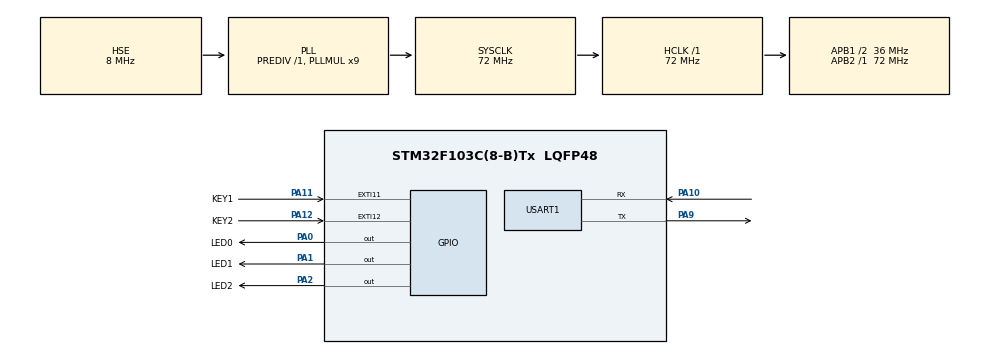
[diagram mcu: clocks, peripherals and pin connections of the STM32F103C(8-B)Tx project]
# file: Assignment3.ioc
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Mcu.Family=STM32F1
Mcu.Name=STM32F103C(8-B)Tx
Mcu.Package=LQFP48
NVIC.EXTI15_10_IRQn=true\:0\:0\:false\:false\:true\:true\:true\:true
NVIC.PriorityGroup=NVIC_PRIORITYGROUP_4
NVIC.USART1_IRQn=true\:0\:0\:false\:false\:true\:true\:true\:true
PA0-WKUP.GPIO_Label=LED0
PA0-WKUP.PinState=GPIO_PIN_SET
PA0-WKUP.Signal=GPIO_Output
PA1.GPIO_Label=LED1
PA1.PinState=GPIO_PIN_SET
PA1.Signal=GPIO_Output
PA10.Mode=Asynchronous
PA10.Signal=USART1_RX
PA11.GPIO_Label=KEY1
PA11.GPIO_ModeDefaultEXTI=GPIO_MODE_IT_FALLING
PA11.GPIO_PuPd=GPIO_PULLUP
PA11.Signal=GPXTI11
PA12.GPIO_Label=KEY2
PA12.GPIO_ModeDefaultEXTI=GPIO_MODE_IT_FALLING
PA12.GPIO_PuPd=GPIO_PULLUP
PA12.Signal=GPXTI12
PA13.Mode=Serial_Wire
PA13.Signal=SYS_JTMS-SWDIO
PA14.Mode=Serial_Wire
PA14.Signal=SYS_JTCK-SWCLK
PA2.GPIO_Label=LED2
PA2.PinState=GPIO_PIN_SET
PA2.Signal=GPIO_Output
PA9.Mode=Asynchronous
PA9.Signal=USART1_TX
PC14-OSC32_IN.Mode=LSE-External-Oscillator
PC14-OSC32_IN.Signal=RCC_OSC32_IN
PC15-OSC32_OUT.Mode=LSE-External-Oscillator
PC15-OSC32_OUT.Signal=RCC_OSC32_OUT
PD0-OSC_IN.Mode=HSE-External-Oscillator
PD0-OSC_IN.Signal=RCC_OSC_IN
PD1-OSC_OUT.Mode=HSE-External-Oscillator
PD1-OSC_OUT.Signal=RCC_OSC_OUT
ProjectManager.HeapSize=0x200
ProjectManager.StackSize=0x400
ProjectManager.TargetToolchain=STM32CubeIDE
RCC.AHBFreq_Value=72000000
RCC.APB1CLKDivider=RCC_HCLK_DIV2
RCC.APB1Freq_Value=36000000
RCC.APB1TimFreq_Value=72000000
RCC.APB2Freq_Value=72000000
RCC.APB2TimFreq_Value=72000000
RCC.HCLKFreq_Value=72000000
RCC.PLLMUL=RCC_PLL_MUL9
RCC.PLLSourceVirtual=RCC_PLLSOURCE_HSE
RCC.SYSCLKFreq_VALUE=72000000
RCC.SYSCLKSource=RCC_SYSCLKSOURCE_PLLCLK
RCC.USBFreq_Value=72000000
USART1.VirtualMode=VM_ASYNC
board=custom

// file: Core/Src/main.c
/* USER CODE BEGIN Header */
/**
  ******************************************************************************
  * @file           : main.c
  * @brief          : Main program body
  ******************************************************************************
  * @attention
  *
  * Copyright (c) 2026 STMicroelectronics.
  * All rights reserved.
  *
  * This software is licensed under terms that can be found in the LICENSE file
  * in the root directory of this software component.
  * If no LICENSE file comes with this software, it is provided AS-IS.
  *
  ******************************************************************************
  */
/* USER CODE END Header */
#include "main.h"
#include "usart.h"
#include "gpio.h"

/* USER CODE BEGIN Includes */
#include <stdio.h>
#include <string.h>

#include "app_packet.h"   /* 6 字节数据包定义与校验 */
#include "oled.h"         /* 软件 I²C OLED 驱动 */
/* USER CODE END Includes */

/* USER CODE BEGIN PTD */
/**
  * @brief 系统运行状态（唯一状态源）
  * @note  按键和串口只负责修改它；LED、OLED、串口反馈都从它读取，
  *        因此"实际灯效 / 屏幕显示 / 串口反馈"三者永远一致。
  *        该结构只在主循环上下文中访问，不需要 volatile。
  */
typedef struct
{
  uint8_t  run;        /* 运行标志：0 暂停，1 运行 */
  uint8_t  dir;        /* 方向：0 正向，1 反向 */
  uint16_t step_ms;    /* 相邻 LED 的切换间隔（ms） */
  uint8_t  led;        /* 当前点亮的 LED 编号：0 ~ 2 */
  uint32_t last_tick;  /* 上一次切换的时刻（HAL_GetTick 时间戳） */
} SysState;
/* USER CODE END PTD */

/* USER CODE BEGIN PD */
#define LED_NUM              3u   /* 流水灯数量 */
#define LED_ACTIVE_LEVEL     GPIO_PIN_RESET  /* 共阳接法：低电平点亮 */
#define LED_INACTIVE_LEVEL   GPIO_PIN_SET    /* 高电平熄灭 */
#define KEY_DEBOUNCE_MS      20u  /* 按键消抖时间（ms） */
#define TX_BUF_SIZE          64u  /* 串口反馈缓冲区大小 */
/* USER CODE END PD */

/* USER CODE BEGIN PV */
/* —— 唯一状态源 —— */
static SysState g_state =
{
  .run       = 1u,     /* 上电默认：运行 */
  .dir       = 0u,     /* 正向 */
  .step_ms   = 300u,   /* 300ms 切换一次 */
  .led       = 0u,     /* 点亮第 1 颗 */
  .last_tick = 0u
};

/* —— 按键事件：中断里只记录"事件标志 + 时间戳"，消抖放在主循环 —— */
static volatile uint8_t  s_key1_flag = 0u;
static volatile uint8_t  s_key2_flag = 0u;
static volatile uint32_t s_key1_tick = 0u;
static volatile uint32_t s_key2_tick = 0u;

/* —— 串口接收：逐字节接收，收到帧头 0xAA 才开始组包（可自动重新同步） —— */
static uint8_t          s_rx_byte;                 /* 单字节接收目标 */
static PacketRx         s_rx;                      /* 组包状态机（帧头同步） */
static Packet           s_pending_packet;          /* 组包完成后的副本，供主循环取用 */
static volatile uint8_t s_packet_ready = 0u;

/* —— 串口反馈：中断发送 + 忙/待发标志，避免发送过程中改写缓冲区 —— */
static char             s_tx_buf[TX_BUF_SIZE];
static volatile uint8_t s_tx_busy = 0u;    /* 1 = 上一次发送还没完成 */
static uint8_t          s_tx_pending = 0u; /* 1 = 有最新状态待发送 */

/* —— OLED 刷新标记：只有状态变化才置 1，避免每轮循环都刷屏 —— */
static uint8_t s_oled_dirty = 1u;
/* —— OLED 每行"上次显示的内容"缓存：只重画内容真的变了的行 —— */
static char    s_oled_cache[4][17];
/* USER CODE END PV */

void SystemClock_Config(void);
/* USER CODE BEGIN PFP */
static void Led_Apply(uint8_t idx);
static void Key_Process(void);
static void Packet_Process(void);
static void Led_Tick(void);
static void Oled_Render(void);
static void Oled_UpdateLine(uint8_t line_no, const char *text);
static void Status_Format(char *buf, uint32_t size);
static void Status_RequestFeedback(void);
static void   Tx_Service(void);
/* USER CODE END PFP */
/* USER CODE BEGIN 0 */
/**
  * @brief 只点亮第 idx 颗 LED，其余两颗熄灭
  * @param idx 0 ~ 2
  */
static void Led_Apply(uint8_t idx)
{
  HAL_GPIO_WritePin(LED0_GPIO_Port, LED0_Pin,
                    (idx == 0u) ? LED_ACTIVE_LEVEL : LED_INACTIVE_LEVEL);
  HAL_GPIO_WritePin(LED1_GPIO_Port, LED1_Pin,
                    (idx == 1u) ? LED_ACTIVE_LEVEL : LED_INACTIVE_LEVEL);
  HAL_GPIO_WritePin(LED2_GPIO_Port, LED2_Pin,
                    (idx == 2u) ? LED_ACTIVE_LEVEL : LED_INACTIVE_LEVEL);
}

/**
  * @brief 处理按键事件（在主循环中调用）
  * @note  中断回调只登记了"按下时刻"，这里等 20ms 后重新读引脚电平：
  *        - 抖动产生的多个下降沿：标志已被清掉，只会算一次；
  *        - 按住不放：下降沿只在按下瞬间产生一次，也不会连续触发；
  *        - 若 20ms 内已经松开（读回高电平），说明是干扰，直接丢弃。
  */
static void Key_Process(void)
{
  uint32_t now = HAL_GetTick();

  /* 按键 1（PA11）：切换正向 / 反向 */
  if ((s_key1_flag != 0u) &&
      ((uint32_t)(now - s_key1_tick) >= KEY_DEBOUNCE_MS))
  {
    s_key1_flag = 0u;
    if (HAL_GPIO_ReadPin(KEY1_GPIO_Port, KEY1_Pin) == GPIO_PIN_RESET)
    {
      g_state.dir ^= 1u;          /* 方向翻转 */
      s_oled_dirty = 1u;          /* 屏幕需要刷新 */
      Status_RequestFeedback();   /* 方向变化：回传状态 */
    }
  }

  /* 按键 2（PA12）：切换暂停 / 继续 */
  if ((s_key2_flag != 0u) &&
      ((uint32_t)(now - s_key2_tick) >= KEY_DEBOUNCE_MS))
  {
    s_key2_flag = 0u;
    if (HAL_GPIO_ReadPin(KEY2_GPIO_Port, KEY2_Pin) == GPIO_PIN_RESET)
    {
      g_state.run ^= 1u;
      if (g_state.run != 0u)
      {
        /* 从暂停恢复：重新计时，让新一次切换从完整间隔开始 */
        g_state.last_tick = now;
      }
      s_oled_dirty = 1u;
      Status_RequestFeedback();   /* 运行状态变化：回传状态 */
    }
  }
}

/**
  * @brief 校验并应用收到的数据包
  * @note  只有帧头、校验和、参数范围全部通过才执行；
  *        同一包中的三个设置（运行、方向、间隔）一次性生效，
  *        保证不会出现"只改了一半"的中间状态。
  */
static void Packet_Process(void)
{
  Packet   pkt;
  uint32_t primask;

  if (s_packet_ready == 0u)
  {
    return;
  }

  /* 临界区：取走副本并清标志，避免与接收中断竞争（副本只有 6 字节，很快） */
  primask = __get_PRIMASK();
  __disable_irq();
  pkt = s_pending_packet;
  s_packet_ready = 0u;
  __set_PRIMASK(primask);

  /* 非法包（帧头错 / 校验错 / 参数越界）：不执行任何动作，保持原状态 */
  if (Packet_IsValid(&pkt) == 0u)
  {
    return;
  }

  g_state.run     = pkt.run;
  g_state.dir     = pkt.dir;
  g_state.step_ms = pkt.step_ms;
  g_state.last_tick = HAL_GetTick();   /* 应用新设置后重新计时 */

  s_oled_dirty = 1u;
  Status_RequestFeedback();            /* 应用成功后回传状态 */
}

/**
  * @brief 流水灯调度：比较时间戳，到点才切换（非阻塞，不用 HAL_Delay）
  */
static void Led_Tick(void)
{
  uint32_t now;

  if (g_state.run == 0u)
  {
    return;   /* 暂停：保持当前 LED 点亮不动 */
  }

  now = HAL_GetTick();
  if ((uint32_t)(now - g_state.last_tick) >= g_state.step_ms)
  {
    g_state.last_tick = now;
    /* 正向 +1、反向 +2（对 3 取模等价于 -1），再对灯数取模 */
    g_state.led = (uint8_t)((g_state.led + ((g_state.dir != 0u) ? 2u : 1u)) % LED_NUM);
    Led_Apply(g_state.led);
    s_oled_dirty = 1u;   /* LED 编号变了，屏幕需要刷新 */
  }
}

/**
  * @brief 刷新 OLED 某一行（只有内容变化时才真正写屏）
  * @param line_no 行号 1 ~ 4
  * @param text    要显示的字符串（定宽，16 字符以内）
  * @note  软件 I²C 写一屏需要几毫秒，缓存上次显示内容后，
  *        切灯时只重画 "LED: n/3" 这一行，主循环响应更快。
  */
static void Oled_UpdateLine(uint8_t line_no, const char *text)
{
  size_t len;
  char  *cache = s_oled_cache[line_no - 1u];

  if (strcmp(text, cache) == 0)
  {
    return;
  }

  /* 注意：本函数依赖"每行内容定宽"的前提（见 Oled_Render 的说明），
     只有内容变化才重画；若以后把某行改短，旧像素会残留、缓存也会阻止重画。 */
  OLED_ShowString(line_no, 1u, text);

  len = strlen(text);
  if (len > 16u)
  {
    len = 16u;
  }
  (void)memcpy(cache, text, len);
  cache[len] = '\0';
}

/**
  * @brief 刷新 OLED 四行状态（只在 s_oled_dirty 置位时执行）
  * @note  每行都用"定宽"字符串，保证字段变长/变短时不会残留旧字符：
  *          STATE: RUN   / STATE: PAUSE   （固定 12 字符宽）
  *          DIR: FWD     / DIR: BWD
  *          STEP: 300ms  （%4u 保证 3~4 位对齐）
  *          LED: 1/3
  */
static void Oled_Render(void)
{
  char line[17];   /* 一行 16 个字符 + 结束符 */

  if (s_oled_dirty == 0u)
  {
    return;
  }
  s_oled_dirty = 0u;

  (void)snprintf(line, sizeof(line), "STATE: %-5s",
                 (g_state.run != 0u) ? "RUN" : "PAUSE");
  Oled_UpdateLine(1u, line);

  (void)snprintf(line, sizeof(line), "DIR: %s",
                 (g_state.dir != 0u) ? "BWD" : "FWD");
  Oled_UpdateLine(2u, line);

  (void)snprintf(line, sizeof(line), "STEP:%4ums",
                 (unsigned int)g_state.step_ms);
  Oled_UpdateLine(3u, line);

  (void)snprintf(line, sizeof(line), "LED: %u/%u",
                 (unsigned int)(g_state.led + 1u), (unsigned int)LED_NUM);
  Oled_UpdateLine(4u, line);
}

/**
  * @brief 把当前状态格式化成一行英文反馈
  * @note  格式：STATE=RUN,DIR=FWD,STEP=300,LED=1\r\n
  */
static void Status_Format(char *buf, uint32_t size)
{
  (void)snprintf(buf, (size_t)size, "STATE=%s,DIR=%s,STEP=%u,LED=%u\r\n",
                 (g_state.run != 0u) ? "RUN" : "PAUSE",
                 (g_state.dir != 0u) ? "BWD" : "FWD",
                 (unsigned int)g_state.step_ms,
                 (unsigned int)(g_state.led + 1u));
}

/**
  * @brief 请求发送一帧状态反馈
  * @note  只置"待发"标志，由 Tx_Service 在主循环里真正启动发送；
  *        连续多次变化时只会发送最后一次的状态。
  */
static void Status_RequestFeedback(void)
{
  s_tx_pending = 1u;
}

/**
  * @brief 串口反馈发送服务（在主循环中调用）
  * @note  用中断发送：启动后立即返回，发送完成由 HAL_UART_TxCpltCallback 清标志。
  *        上一次没发完（s_tx_busy）时先不启动，等回调置 0 再发最新状态；
  *        启动失败（返回非 HAL_OK）则保留待发标志，下一轮重试。
  */
static void Tx_Service(void)
{
  uint16_t len;

  if ((s_tx_pending == 0u) || (s_tx_busy != 0u))
  {
    return;
  }

  Status_Format(s_tx_buf, TX_BUF_SIZE);
  s_tx_pending = 0u;
  len = (uint16_t)strlen(s_tx_buf);

  /* 先置忙再启动：避免"发送完成回调抢在置忙之前执行"的极端情况，
     那样会出现"回调清 0 → 这里又置 1"的永久忙死。 */
  s_tx_busy = 1u;
  if (HAL_UART_Transmit_IT(&huart1, (uint8_t *)s_tx_buf, len) != HAL_OK)
  {
    s_tx_busy    = 0u;   /* 没启动成功：放开忙标志 */
    s_tx_pending = 1u;   /* 保留待发，下一轮再试 */
  }
}

/* ============================================================================
 *                       调试探针 DEBUG_PROBE（临时诊断用）
 * ----------------------------------------------------------------------------
 * 排查完把 DEBUG_PROBE 改成 0 即可完全关闭（关闭后不生成任何代码、不占空间）。
 *
 * 诊断输出都走串口 TX（你说"能输出不能输入"，正好用这个通道看结果）：
 *   1) 上电横幅：PA10(RX) 空闲电平 / PB1(SCL)、PB0(SDA) 空闲电平；
 *      —— 正常 UART 空闲为 1；I2C 空闲(pull-up)也为 1；读到 0 说明该线被拉死/短路。
 *   2) 全总线 I2C 扫描（0x08~0x78 偶数地址）：有 ACK 的地址会打印出来；
 *      —— 打印 0x78 说明屏幕在总线上、地址对、通信通；
 *      —— 打印 none 说明 I2C 物理层没通（SCL/SDA 接反、线断、屏坏）。
 *   3) 运行中每 500ms（或收到新字节时）打印：收到多少字节 + 最后 8 个字节的十六进制；
 *      —— rx 一直为 0        → "模块TXD → PA10" 这根线/引脚的问题；
 *      —— rx 在涨但内容不对  → 输入通路正常，问题在"助手发送格式（HEX/文本）"或包内容。
 *
 * 另外打开探针时会上电做一次"全屏点亮 1.5 秒"自检，肉眼即可判断屏活不活。
 * ==========================================================================*/
#define DEBUG_PROBE         0   /* 1 = 打开诊断；诊断完务必改回 0 */
#define DEBUG_PROBE_PERIOD  500u/* 运行中诊断行的最小输出间隔(ms) */

#if DEBUG_PROBE
static volatile uint32_t s_dbg_rx_bytes = 0u;      /* 收到的字节总数（不看包结构） */
static volatile uint8_t  s_dbg_hist[8]  = {0u};    /* 最后 8 个收到的字节 */
static volatile uint32_t s_dbg_poll_bytes = 0u;    /* 轮询 RXNE 数到的字节（中断没生效时才会计数） */
static volatile uint32_t s_dbg_err_bytes   = 0u;   /* 串口错误中断次数（ORE/FE/NE，能抓到波特率不对/噪声） */

/** @brief 阻塞方式输出一串字符（诊断用，频率很低，不影响正常功能） */
static void Dbg_Uart_Raw(const char *s)
{
  (void)HAL_UART_Transmit(&huart1, (uint8_t *)s, (uint16_t)strlen(s), 200u);
}

/** @brief 诊断用的粗略延时 */
static void Dbg_Delay(void)
{
  volatile uint32_t n = 60u;
  while (n-- > 0u)
  {
    __NOP();
  }
}

/**
  * @brief 对一条信号线做 4 种电平测试，返回结果位掩码
  * @param port 端口，pin 引脚
  * @retval bit0=内部上拉时读到高  bit1=内部下拉时读到高
  *         bit2=推挽输出高时读到高  bit3=开漏释放后读到高
  * @note   判读要点：
  *          - bit2 = 0 ：线被"硬短路到地"（面包板孔短路、线接错到 GND）
  *          - bit2 = 1 而 bit0 = 0 ：外部有更强的下拉，典型是"屏的 VCC 没供电，
  *            屏板载上拉挂在 0V 上"（此时整条总线恒为低）
  *          - 正常空闲线（有上拉的 I2C / 空闲 UART）= PU1 PD0 HI1 OD1
  */
static uint8_t Dbg_Line_Test(GPIO_TypeDef *port, uint16_t pin)
{
  GPIO_InitTypeDef g = {0};
  uint8_t r = 0u;

  g.Pin   = pin;
  g.Speed = GPIO_SPEED_FREQ_HIGH;

  /* 1) 输入 + 内部上拉 */
  HAL_GPIO_WritePin(port, pin, GPIO_PIN_SET);
  g.Mode = GPIO_MODE_INPUT;
  g.Pull = GPIO_PULLUP;
  HAL_GPIO_Init(port, &g);
  Dbg_Delay();
  if (HAL_GPIO_ReadPin(port, pin) == GPIO_PIN_SET)
  {
    r |= 0x01u;
  }

  /* 2) 输入 + 内部下拉：外部有强上拉才会读到高 */
  g.Pull = GPIO_PULLDOWN;
  HAL_GPIO_Init(port, &g);
  Dbg_Delay();
  if (HAL_GPIO_ReadPin(port, pin) == GPIO_PIN_SET)
  {
    r |= 0x02u;
  }

  /* 3) 推挽输出高：还能读到低，就是硬短路到地 */
  HAL_GPIO_WritePin(port, pin, GPIO_PIN_SET);
  g.Mode = GPIO_MODE_OUTPUT_PP;
  g.Pull = GPIO_NOPULL;
  HAL_GPIO_Init(port, &g);
  Dbg_Delay();
  if (HAL_GPIO_ReadPin(port, pin) == GPIO_PIN_SET)
  {
    r |= 0x04u;
  }

  /* 4) 开漏释放（ODR=1），靠外部上拉拉高 */
  HAL_GPIO_WritePin(port, pin, GPIO_PIN_SET);
  g.Mode = GPIO_MODE_OUTPUT_OD;
  HAL_GPIO_Init(port, &g);
  Dbg_Delay();
  if (HAL_GPIO_ReadPin(port, pin) == GPIO_PIN_SET)
  {
    r |= 0x08u;
  }

  return r;
}

/** @brief 打印一条线的 4 项测试结果，并直接给出结论 */
static void Dbg_Line_Report(const char *name, uint8_t m)
{
  char line[96];
  int  n;

  n = snprintf(line, sizeof(line), "[PROBE] %-8s PU=%u PD=%u HI=%u OD=%u",
               name,
               (unsigned)(m & 0x01u),
               (unsigned)((m >> 1) & 0x01u),
               (unsigned)((m >> 2) & 0x01u),
               (unsigned)((m >> 3) & 0x01u));
  (void)HAL_UART_Transmit(&huart1, (uint8_t *)line, (uint16_t)n, 200u);

  if ((m & 0x04u) == 0u)
  {
    Dbg_Uart_Raw("  -> HARD SHORT to GND (线/孔短路或接错)\r\n");
  }
  else if (((m & 0x01u) == 0u) && ((m & 0x08u) == 0u))
  {
    Dbg_Uart_Raw("  -> EXTERNAL PULL-DOWN (屏VCC没供电/电源脚接反?)\r\n");
  }
  else if ((m & 0x01u) == 0u)
  {
    Dbg_Uart_Raw("  -> weak pull-down\r\n");
  }
  else
  {
    Dbg_Uart_Raw("  -> OK idle-high\r\n");
  }
}

/** @brief 总线恢复：SCL 打 9 个时钟 + STOP，把可能"卡住"的从机放回空闲 */
static void Dbg_Bus_Recover(void)
{
  uint8_t i;

  HAL_GPIO_WritePin(GPIOB, GPIO_PIN_0, GPIO_PIN_SET);
  for (i = 0u; i < 9u; i++)
  {
    HAL_GPIO_WritePin(GPIOB, GPIO_PIN_1, GPIO_PIN_RESET);
    Dbg_Delay();
    HAL_GPIO_WritePin(GPIOB, GPIO_PIN_1, GPIO_PIN_SET);
    Dbg_Delay();
  }
  HAL_GPIO_WritePin(GPIOB, GPIO_PIN_0, GPIO_PIN_RESET);
  Dbg_Delay();
  HAL_GPIO_WritePin(GPIOB, GPIO_PIN_1, GPIO_PIN_SET);
  Dbg_Delay();
  HAL_GPIO_WritePin(GPIOB, GPIO_PIN_0, GPIO_PIN_SET);
  Dbg_Delay();
}

/**
  * @brief 对一个 8 位写地址（7 位地址左移 1 位）发 START+地址，读应答
  * @retval 1 = 收到 ACK（从机存在且通信正常）；0 = NACK
  */
static uint8_t Dbg_I2C_AckProbe(uint8_t addr8)
{
  uint8_t i;
  uint8_t ack;

  /* START：SCL 高时 SDA 由高变低 */
  HAL_GPIO_WritePin(GPIOB, GPIO_PIN_0, GPIO_PIN_SET);
  HAL_GPIO_WritePin(GPIOB, GPIO_PIN_1, GPIO_PIN_SET);
  Dbg_Delay();
  HAL_GPIO_WritePin(GPIOB, GPIO_PIN_0, GPIO_PIN_RESET);
  Dbg_Delay();
  HAL_GPIO_WritePin(GPIOB, GPIO_PIN_1, GPIO_PIN_RESET);
  Dbg_Delay();

  /* 8 位地址，高位先发 */
  for (i = 0u; i < 8u; i++)
  {
    HAL_GPIO_WritePin(GPIOB, GPIO_PIN_0,
                      ((addr8 & 0x80u) != 0u) ? GPIO_PIN_SET : GPIO_PIN_RESET);
    addr8 = (uint8_t)(addr8 << 1);
    Dbg_Delay();
    HAL_GPIO_WritePin(GPIOB, GPIO_PIN_1, GPIO_PIN_SET);
    Dbg_Delay();
    HAL_GPIO_WritePin(GPIOB, GPIO_PIN_1, GPIO_PIN_RESET);
    Dbg_Delay();
  }

  /* 第 9 个时钟：释放 SDA，从机拉低即 ACK */
  HAL_GPIO_WritePin(GPIOB, GPIO_PIN_0, GPIO_PIN_SET);
  Dbg_Delay();
  HAL_GPIO_WritePin(GPIOB, GPIO_PIN_1, GPIO_PIN_SET);
  Dbg_Delay();
  ack = (HAL_GPIO_ReadPin(GPIOB, GPIO_PIN_0) == GPIO_PIN_RESET) ? 1u : 0u;
  HAL_GPIO_WritePin(GPIOB, GPIO_PIN_1, GPIO_PIN_RESET);
  Dbg_Delay();

  /* STOP：SCL 高时 SDA 由低变高 */
  HAL_GPIO_WritePin(GPIOB, GPIO_PIN_0, GPIO_PIN_RESET);
  Dbg_Delay();
  HAL_GPIO_WritePin(GPIOB, GPIO_PIN_1, GPIO_PIN_SET);
  Dbg_Delay();
  HAL_GPIO_WritePin(GPIOB, GPIO_PIN_0, GPIO_PIN_SET);
  Dbg_Delay();

  return ack;
}

/**
  * @brief 上电诊断：逐线做 4 种电平测试 + 条件化 I2C 地址扫描
  * @note  必须在 OLED_Init() 之前调用（此时 PB0/PB1 还没有被驱动）
  */
static void Dbg_Boot_Report(void)
{
  char    line[96];
  uint8_t m_pa10;
  uint8_t m_scl;
  uint8_t m_sda;
  uint8_t addr;
  uint8_t found = 0u;
  int     n;

  Dbg_Uart_Raw("\r\n[PROBE] ==== boot diagnostic v2 ====\r\n");
  Dbg_Uart_Raw("[PROBE] PU=上拉读 PD=下拉读 HI=推挽高读 OD=开漏释放读\r\n");
  Dbg_Uart_Raw("[PROBE] 正常空闲线应为 PU=1 PD=0 HI=1 OD=1\r\n");

  m_pa10 = Dbg_Line_Test(GPIOA, GPIO_PIN_10);
  Dbg_Line_Report("PA10/RX", m_pa10);
  m_scl  = Dbg_Line_Test(GPIOB, GPIO_PIN_1);
  Dbg_Line_Report("PB1/SCL", m_scl);
  m_sda  = Dbg_Line_Test(GPIOB, GPIO_PIN_0);
  Dbg_Line_Report("PB0/SDA", m_sda);

  Dbg_Uart_Raw("[PROBE] 自环测试: 拔掉模块TXD线, 短接 PA9<->PA10, 复位后 rx 应 >0\r\n");

  /* 总线不在空闲高电平就不做地址扫描：
     此时 SDA 恒为 0，任何地址都会被误判成"有应答"（上一版就是被这个假象骗了） */
  if (((m_scl & 0x04u) == 0u) || ((m_sda & 0x04u) == 0u))
  {
    Dbg_Uart_Raw("[PROBE] I2C bus 不在空闲高电平 -> 跳过扫描(全ACK是假象)\r\n");
    Dbg_Uart_Raw("[PROBE] 重点：①屏 VCC 脚是否真有 3.3V ②屏丝印引脚顺序有没有接反\r\n");
    return;
  }

  /* 把两条线都释放成开漏（靠屏上拉），再扫描 */
  Dbg_Uart_Raw("[PROBE] i2c scan:");
  for (addr = 0x08u; addr <= 0x78u; addr = (uint8_t)(addr + 2u))
  {
    if (Dbg_I2C_AckProbe(addr) != 0u)
    {
      found = 1u;
      n = snprintf(line, sizeof(line), " 0x%02X", (unsigned)addr);
      (void)HAL_UART_Transmit(&huart1, (uint8_t *)line, (uint16_t)n, 200u);
    }
  }
  if (found == 0u)
  {
    Dbg_Uart_Raw(" none");
  }
  Dbg_Uart_Raw("\r\n");
  Dbg_Bus_Recover();
}

/**
  * @brief 运行中诊断：打印收到的字节总数与最后 8 个字节
  * @note  只在"收到新字节"或"每 5 秒心跳"时输出，避免刷屏；
  *        避开中断发送占用串口的时间窗，减少诊断行丢失。
  */
static void Dbg_Loop_Report(void)
{
  static uint32_t last_ms   = 0u;
  static uint32_t last_cnt  = 0u;
  static uint32_t last_hb   = 0u;

  char     line[96];
  uint32_t now = HAL_GetTick();
  uint32_t cnt;
  uint32_t polln;
  uint32_t errn;
  uint8_t  ie;
  uint8_t  hist[8];
  uint8_t  n;
  uint8_t  k;
  int      pos;
  uint32_t primask;

  /* 接收中断没使能时用轮询兜底：证明"线路上到底有没有字节进来"。
     中断正常时（RXNEIE=1）这里不轮询，不会抢走中断的字节。 */
  if ((huart1.Instance->CR1 & USART_CR1_RXNEIE) == 0u)
  {
    if (__HAL_UART_GET_FLAG(&huart1, UART_FLAG_RXNE) != RESET)
    {
      (void)(huart1.Instance->DR);   /* 读 DR 清 RXNE 标志 */
      s_dbg_poll_bytes++;
    }
  }

  if ((uint32_t)(now - last_ms) < DEBUG_PROBE_PERIOD)
  {
    return;
  }
  if ((s_tx_busy != 0u) || (s_tx_pending != 0u))
  {
    return;   /* 正在发状态反馈，下一轮再打 */
  }
  last_ms = now;

  /* 取一份快照（很短，必要时关中断） */
  primask = __get_PRIMASK();
  __disable_irq();
  cnt = s_dbg_rx_bytes;
  polln = s_dbg_poll_bytes;
  errn = s_dbg_err_bytes;
  for (k = 0u; k < 8u; k++)
  {
    hist[k] = s_dbg_hist[k];
  }
  __set_PRIMASK(primask);
  ie = ((huart1.Instance->CR1 & USART_CR1_RXNEIE) != 0u) ? 1u : 0u;

  n = (cnt < 8u) ? (uint8_t)cnt : 8u;

  if ((cnt == last_cnt) && ((uint32_t)(now - last_hb) < 1000u))
  {
    return;   /* 没有新字节，且离上次心跳不到 5s：不输出 */
  }
  last_cnt = cnt;
  last_hb  = now;

  pos = snprintf(line, sizeof(line), "[PROBE] rx=%lu rxp=%lu err=%lu ie=%u pa10=%u last=",
                 (unsigned long)cnt,
                 (unsigned long)polln,
                 (unsigned long)errn,
                 (unsigned)ie,
                 (unsigned)((HAL_GPIO_ReadPin(GPIOA, GPIO_PIN_10) == GPIO_PIN_SET) ? 1u : 0u));
  for (k = 0u; k < n; k++)
  {
    if (pos >= ((int)sizeof(line) - 5))
    {
      break;
    }
    pos += snprintf(&line[pos], sizeof(line) - (size_t)pos,
                    "%02X ", (unsigned)hist[8u - n + k]);
  }
  if (pos < ((int)sizeof(line) - 3))
  {
    line[pos++] = '\r';
    line[pos++] = '\n';
  }
  line[pos] = '\0';
  (void)HAL_UART_Transmit(&huart1, (uint8_t *)line, (uint16_t)pos, 200u);
}
#endif /* DEBUG_PROBE */
/* USER CODE END 0 */

int main(void)
{

  /* MCU Configuration--------------------------------------------------------*/

  /* Reset of all peripherals, Initializes the Flash interface and the Systick. */
  HAL_Init();

  /* Configure the system clock */
  SystemClock_Config();

  /* Initialize all configured peripherals */
  MX_GPIO_Init();
  MX_USART1_UART_Init();
  /* USER CODE BEGIN 2 */
  /* 上电初始化：先让流水灯进入确定状态 */
  g_state.last_tick = HAL_GetTick();
  Led_Apply(g_state.led);

#if DEBUG_PROBE
  /* 上电诊断：先看三条线的空闲电平和 I2C 总线扫描结果（必须在 OLED_Init 之前） */
  Dbg_Boot_Report();
#endif

  /* 等 OLED 上电稳定后初始化（软件 I²C + SSD1315/SSD1306 兼容驱动，内部会清屏） */
  HAL_Delay(20);
  OLED_Init();
  s_oled_dirty = 1u;

#if DEBUG_PROBE
  /* 上电自检：屏幕应全白 1.5 秒，然后清屏进入正常显示。
     全白 = 屏和 I2C 链路都正常；仍全黑 = I2C 物理层/地址问题（看上面的扫描结果）。 */
  Dbg_Uart_Raw("[PROBE] oled init done, test pattern -> screen should be WHITE\r\n");
  OLED_TestPattern(1u);
  HAL_Delay(1500u);
  OLED_Clear();
  Dbg_Uart_Raw("[PROBE] test pattern cleared\r\n");
#endif

  /* —— 首次点亮自检（临时取消注释，确认屏和 I²C 链路）：屏幕应全白 ——
  OLED_TestPattern(1u);
  HAL_Delay(500u);
  OLED_Clear();
  —— 自检结束，恢复注释 —— */

  /* 启动串口中断接收：每次收 1 字节，由回调按帧头 0xAA 组包 */
  (void)HAL_UART_Receive_IT(&huart1, &s_rx_byte, 1u);

  /* 上电先回传一帧状态，便于确认串口链路正常 */
  Status_RequestFeedback();
  /* USER CODE END 2 */

  /* Infinite loop */
  while (1)
  {

    /* USER CODE BEGIN 3 */
    /* 主循环五件事，全部非阻塞，任何一步都不会长时间占用 CPU */
    Key_Process();      /* 1. 按键消抖并处理事件（切换方向 / 暂停继续） */
    Packet_Process();   /* 2. 校验串口数据包，合法则一次性更新状态 */
    Led_Tick();         /* 3. 比较时间戳，到点推进流水灯 */
    Oled_Render();      /* 4. 状态有变化才刷新 OLED */
    Tx_Service();       /* 5. 串口空闲且有待发状态时，启动中断发送反馈 */
#if DEBUG_PROBE
    Dbg_Loop_Report();  /* 6. 诊断：打印收到多少字节（诊断完把 DEBUG_PROBE 改 0） */
#endif
  }
  /* USER CODE END 3 */
}

void SystemClock_Config(void)
{
  RCC_OscInitTypeDef RCC_OscInitStruct = {0};
  RCC_ClkInitTypeDef RCC_ClkInitStruct = {0};

  /** Initializes the RCC Oscillators according to the specified parameters
  * in the RCC_OscInitTypeDef structure.
  */
  RCC_OscInitStruct.OscillatorType = RCC_OSCILLATORTYPE_HSE;
  RCC_OscInitStruct.HSEState = RCC_HSE_ON;
  RCC_OscInitStruct.HSEPredivValue = RCC_HSE_PREDIV_DIV1;
  RCC_OscInitStruct.HSIState = RCC_HSI_ON;
  RCC_OscInitStruct.PLL.PLLState = RCC_PLL_ON;
  RCC_OscInitStruct.PLL.PLLSource = RCC_PLLSOURCE_HSE;
  RCC_OscInitStruct.PLL.PLLMUL = RCC_PLL_MUL9;
  if (HAL_RCC_OscConfig(&RCC_OscInitStruct) != HAL_OK)
  {
    Error_Handler();
  }

  /** Initializes the CPU, AHB and APB buses clocks
  */
  RCC_ClkInitStruct.ClockType = RCC_CLOCKTYPE_HCLK|RCC_CLOCKTYPE_SYSCLK
                              |RCC_CLOCKTYPE_PCLK1|RCC_CLOCKTYPE_PCLK2;
  RCC_ClkInitStruct.SYSCLKSource = RCC_SYSCLKSOURCE_PLLCLK;
  RCC_ClkInitStruct.AHBCLKDivider = RCC_SYSCLK_DIV1;
  RCC_ClkInitStruct.APB1CLKDivider = RCC_HCLK_DIV2;
  RCC_ClkInitStruct.APB2CLKDivider = RCC_HCLK_DIV1;

  if (HAL_RCC_ClockConfig(&RCC_ClkInitStruct, FLASH_LATENCY_2) != HAL_OK)
  {
    Error_Handler();
  }
}

/* USER CODE BEGIN 4 */
/**
  * @brief 外部中断回调（KEY1 / KEY2 共用）
  * @param GPIO_Pin 触发中断的引脚
  * @note  只有记录，不做消抖、不刷屏、不延时——这是作业"中断回调只完成
  *        必要的事件记录"的要求。真正的处理在 Key_Process() 中完成。
  */
void HAL_GPIO_EXTI_Callback(uint16_t GPIO_Pin)
{
  uint32_t now = HAL_GetTick();

  if (GPIO_Pin == KEY1_Pin)
  {
    s_key1_tick = now;
    s_key1_flag = 1u;
  }
  else if (GPIO_Pin == KEY2_Pin)
  {
    s_key2_tick = now;
    s_key2_flag = 1u;
  }
}

/**
  * @brief 串口接收完成回调（每次 1 字节）
  * @param huart 触发回调的串口句柄
  * @note  组包逻辑放在 app_packet.c 的 Packet_RxByte() 里（纯函数、可在主机端测试）：
  *        未对齐帧头时丢弃非 0xAA 字节；对齐后按顺序收满 6 字节，
  *        收满即把整包拷成副本、置标志；每次回调都重新启动 1 字节接收。
  *        这样多发的换行、上电半包、中途丢字节都能在下一个 0xAA 自动重新同步。
  */
void HAL_UART_RxCpltCallback(UART_HandleTypeDef *huart)
{
  if (huart->Instance == USART1)
  {
#if DEBUG_PROBE
    /* 诊断：不关心包结构，先统计"到底有没有字节进来" */
    {
      uint8_t k;
      s_dbg_rx_bytes++;
      for (k = 0u; k < 7u; k++)
      {
        s_dbg_hist[k] = s_dbg_hist[k + 1u];
      }
      s_dbg_hist[7] = s_rx_byte;
    }
#endif

    /* 喂入一个字节；凑满一整包时返回 1 */
    if (Packet_RxByte(&s_rx, s_rx_byte, &s_pending_packet) != 0u)
    {
      s_packet_ready = 1u;   /* 通知主循环：有一整包待校验应用 */
    }

    /* 重新启动接收，等待下一个字节 */
    (void)HAL_UART_Receive_IT(&huart1, &s_rx_byte, 1u);
  }
}

/**
  * @brief 串口发送完成回调
  * @param huart 触发回调的串口句柄
  * @note  只清"忙"标志，允许主循环启动下一次发送。
  */
void HAL_UART_TxCpltCallback(UART_HandleTypeDef *huart)
{
  if (huart->Instance == USART1)
  {
    s_tx_busy = 0u;
  }
}

/**
  * @brief 串口错误回调（如接收溢出 ORE）
  * @param huart 触发回调的串口句柄
  * @note  串口错误回调来自接收侧（ORE/FE/NE），这里丢掉半包、重新从帧头开始同步，
  *        必要时重启接收。**不能在这里清 s_tx_busy**：发送可能仍在进行，
  *        清忙标志会让主循环提前改写正在发送的缓冲区。
  */
void HAL_UART_ErrorCallback(UART_HandleTypeDef *huart)
{
  if (huart->Instance == USART1)
  {
#if DEBUG_PROBE
    s_dbg_err_bytes++;   /* 诊断：记录一次串口错误（噪声 / 波特率不对 / 断帧） */
#endif
    s_rx.len = 0u;   /* 丢弃半包，等下一个 0xAA 重新组包 */
    if (huart->RxState == HAL_UART_STATE_READY)
    {
      (void)HAL_UART_Receive_IT(&huart1, &s_rx_byte, 1u);
    }
  }
}
/* USER CODE END 4 */

void Error_Handler(void)
{
  __disable_irq();
  while (1)
  {
  }
}
